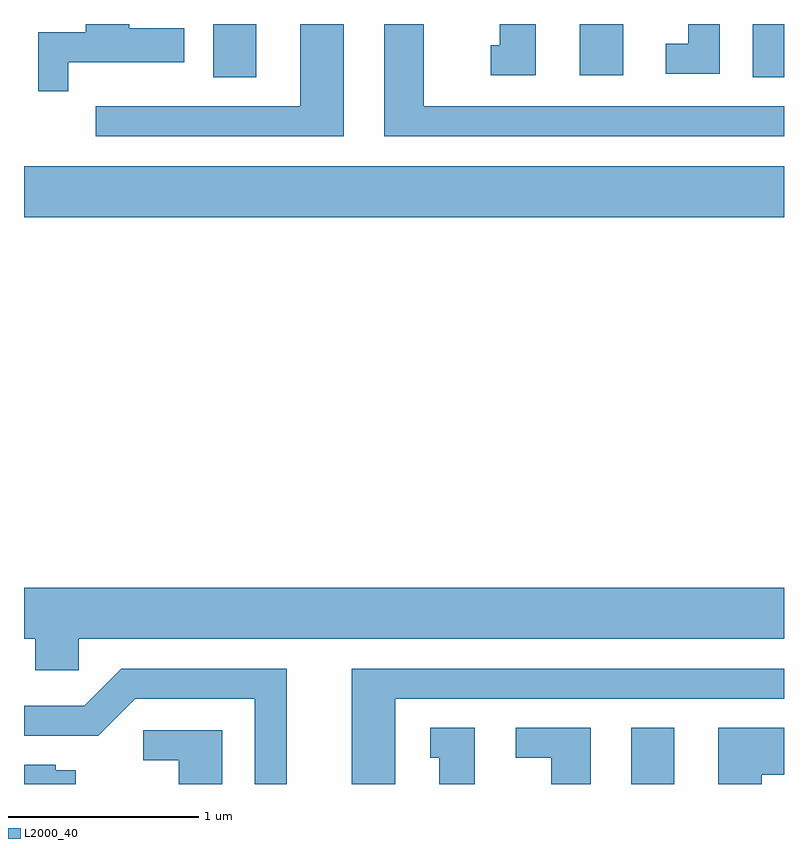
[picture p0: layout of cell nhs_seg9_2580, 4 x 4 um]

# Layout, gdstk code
import gdstk
lib = gdstk.Library(unit=1e-6, precision=1e-09)
def R(c, l, rs):  # rectangles x0, y0, x1, y1
    for r in rs: c.add(gdstk.rectangle(r[:2], r[2:], *l))
def P(c, l, *ps):  # polygons
    for p in ps: c.add(gdstk.Polygon(p, *l))
L2000_40 = (2000, 40)

nhs_seg9_2580 = lib.new_cell('nhs_seg9_2580')
R(nhs_seg9_2580, L2000_40, [(264.806,1944.432,265.034,1944.729), (261.611,1947.416,265.611,1947.684), (262.606,1948.151,262.834,1948.432), (265.446,1948.151,265.611,1948.432), (264.536,1948.161,264.764,1948.432)])
P(nhs_seg9_2580, L2000_40, [(265.611,1947.999),(263.714,1947.999),(263.714,1948.432),(263.506,1948.432),(263.506,1947.841),(265.611,1947.841)],
  [(265.274,1948.432),(265.106,1948.432),(265.106,1948.329),(264.988,1948.329),(264.988,1948.171),(265.274,1948.171)],
  [(261.844,1948.231),(262.454,1948.231),(262.454,1948.409),(262.164,1948.409),(262.164,1948.432),(261.936,1948.432),(261.936,1948.389),(261.686,1948.389),(261.686,1948.078),(261.844,1948.078)],
  [(263.294,1948.432),(263.066,1948.432),(263.066,1947.999),(261.988,1947.999),(261.988,1947.841),(263.294,1947.841)],
  [(264.304,1948.432),(264.116,1948.432),(264.116,1948.319),(264.068,1948.319),(264.068,1948.161),(264.304,1948.161)],
  [(261.899,1945.196),(265.611,1945.196),(265.611,1945.464),(261.611,1945.464),(261.611,1945.196),(261.671,1945.196),(261.671,1945.031),(261.899,1945.031)],
  [(262.994,1945.039),(262.123,1945.039),(261.929,1944.844),(261.611,1944.844),(261.611,1944.686),(262.002,1944.686),(262.197,1944.881),(262.826,1944.881),(262.826,1944.432),(262.994,1944.432)],
  [(263.564,1944.881),(265.611,1944.881),(265.611,1945.039),(263.336,1945.039),(263.336,1944.432),(263.564,1944.432)],
  [(265.494,1944.481),(265.611,1944.481),(265.611,1944.729),(265.266,1944.729),(265.266,1944.432),(265.494,1944.432)],
  [(263.984,1944.729),(263.748,1944.729),(263.748,1944.571),(263.796,1944.571),(263.796,1944.432),(263.984,1944.432)],
  [(264.594,1944.729),(264.198,1944.729),(264.198,1944.571),(264.386,1944.571),(264.386,1944.432),(264.594,1944.432)],
  [(262.654,1944.714),(262.238,1944.714),(262.238,1944.556),(262.426,1944.556),(262.426,1944.432),(262.654,1944.432)],
  [(261.884,1944.504),(261.779,1944.504),(261.779,1944.534),(261.611,1944.534),(261.611,1944.432),(261.884,1944.432)])

lib.write_gds('nhs_seg9_2580.gds')
